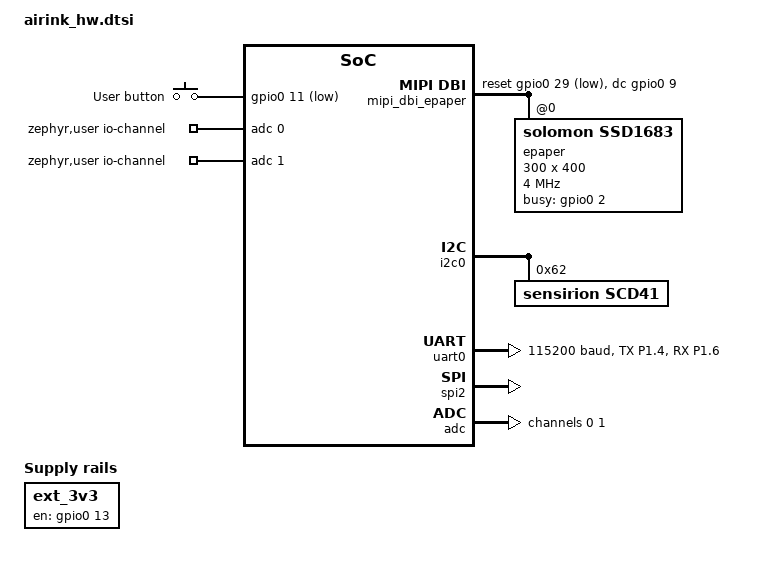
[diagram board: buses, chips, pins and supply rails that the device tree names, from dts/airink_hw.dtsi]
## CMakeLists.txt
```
cmake_minimum_required(VERSION 3.20.0)

# The board's drivers, shared with the Matter build (which appends the same file). Merged after
# prj.conf, so keep it free of anything an app would want to override -- see the file's header.
list(APPEND EXTRA_CONF_FILE ${CMAKE_CURRENT_SOURCE_DIR}/conf/airink_hw.conf)

find_package(Zephyr REQUIRED HINTS $ENV{ZEPHYR_BASE})

project(AirInk)

# Which main() to build. A bench harness REPLACES the firmware's main.cpp; it is not a
# test suite (it needs the real hardware + a PPK2). Select it at configure time:
#   west build -b promicro_nrf52840/nrf52840 -p -- -DAPP_ENTRY=power_test
#
# Read with zephyr_get(), not a plain cache variable: under sysbuild the -D lands in
# the sysbuild cache, which is exposed to the image as target properties rather than
# its CMake cache. A `set(APP_ENTRY ... CACHE ...)` would silently keep the default.
zephyr_get(APP_ENTRY SYSBUILD GLOBAL)
if(NOT APP_ENTRY)
	set(APP_ENTRY main)
endif()
message(STATUS "AirInk entry point: ${APP_ENTRY}")

if(APP_ENTRY STREQUAL "main")
	# The button and the menu state machine belong to the firmware's main() only; a
	# bench harness drives the hardware directly and must not have an input callback
	# registered behind its back.
	target_sources(app PRIVATE
		src/main.cpp
		src/app.cpp
		src/menu.cpp
		src/input/button.cpp
	)
elseif(EXISTS ${CMAKE_CURRENT_SOURCE_DIR}/bench/${APP_ENTRY}.cpp)
	target_sources(app PRIVATE bench/${APP_ENTRY}.cpp)
else()
	message(FATAL_ERROR "APP_ENTRY='${APP_ENTRY}': no such harness bench/${APP_ENTRY}.cpp")
endif()

# So bench/ resolves "sensors/..." and "ui/..." the way sources inside src/ do.
target_include_directories(app PRIVATE src)

target_sources(app PRIVATE
	src/sensors/scd41.cpp
	src/sensors/battery.cpp
	src/ui/display_ui.cpp
	src/ui/ui_platform.cpp
	# UI fonts (1bpp), generated via lv_font_conv: B612 for text, DSEG7 for values.
	src/fonts/b612_48.c
	src/fonts/b612_28.c
	src/fonts/b612_16.c
	src/fonts/b612_14.c
	src/fonts/dseg7_48.c
	src/fonts/dseg7_18.c
	# Vendored SSD16xx driver with a custom solomon,ssd1683 quirk (max 400x400,
	# panel_gates=300) for the GDEY042T81/SSD1683. Paired with CONFIG_SSD16XX=n.
	src/drivers/ssd16xx.c
)
```

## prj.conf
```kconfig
# The standalone firmware. Everything about the board -- drivers, console, UF2 output -- lives in
# conf/airink_hw.conf, which the Matter build pulls in as well. What is left here is what only
# this build gets to decide.

# All views (status bar + boot/sensor/error/low-battery/reset) are built once and kept resident,
# and glyph draw buffers (b612_48 is ~2 KB) are allocated from this pool during a render. 16 KB
# exhausts it -> lv_draw_buf_create_ex returns NULL -> MPU fault in lv_draw_label. The measured
# peak is ~19 KB (ui::log_pool reports it at boot); unlike the Matter build, this one has RAM to
# spare, so leave the headroom generous.
CONFIG_LV_Z_MEM_POOL_SIZE=49152

CONFIG_HEAP_MEM_POOL_SIZE=49152

# The full 400x300 mono render + big-font (b612_48/dseg7_48) rasterisation needs a roomy stack.
# Here the measurement loop IS main (src/main.cpp -> app::run()), so main renders, and an overflow
# is an MPU fault whose symptom is "stuck on the boot screen". In the Matter build the loop has a
# thread of its own and main is trimmed right down.
CONFIG_MAIN_STACK_SIZE=8192
```

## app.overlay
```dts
/*
 * The standalone firmware's devicetree: AirInk's hardware, nothing else. The Matter build
 * describes the same board and includes the same file, adding only its partition map --
 * see matter/boards/promicro_nrf52840_nrf52840.overlay. Wiring changes belong in the .dtsi,
 * so they reach both.
 */

#include "dts/airink_hw.dtsi"
```

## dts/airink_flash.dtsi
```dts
/*
 * The flash map, shared by both builds -- because both run on the same board, on top of the same
 * bootloader, and there is only one truth about where things live.
 *
 *   0x00000000  MBR                    4 KB   part of the nice!nano bootloader, already on the chip
 *   0x00001000  code                 940 KB   the application
 *   0x000EC000  storage               32 KB   NVS (Matter fabrics); untouched by the standalone build
 *   0x000F4000  UF2 bootloader        48 KB   RESERVED -- nice!nano 0.11.0, plus its settings
 *
 * No MCUboot: a plain single image linked at 0x1000, which is exactly where the bootloader starts an
 * app when no SoftDevice is present -- and none is. (Do not be misled by the "s140" in the
 * bootloader's name: it probes for a SoftDevice at boot, finds none, and falls back to 0x1000. The
 * /uf2 board variant, which links at 0x26000 for an SD-based layout, does NOT boot here.)
 *
 * The board's own map is the reason this file exists. Zephyr's promicro_nrf52840 (plain) pulls in
 * nrf52840_partition.dtsi, which describes a board we do not have: an MCUboot pair at 0x0/0xC000 that
 * nothing uses, and -- the dangerous one -- a storage_partition at 0xF8000, i.e. *inside* the
 * bootloader. Nothing writes there today, but the day something persists a setting, NVS would erase
 * its sectors and eat the bootloader. That failure is silent: the device keeps booting (the MBR just
 * skips the now-invalid bootloader), only the USB drive never comes back. It has happened once on
 * this board already.
 *
 * So the stock nodes are deleted and replaced, and the bootloader's 48 KB are left as a hole no
 * partition claims. Bounding the image is the other half of the guard and lives in
 * conf/airink_hw.conf (CONFIG_FLASH_LOAD_SIZE) -- keep the two in step.
 */

/delete-node/ &boot_partition;
/delete-node/ &slot0_partition;
/delete-node/ &slot1_partition;
/delete-node/ &storage_partition;

/ {
	chosen {
		zephyr,code-partition = &code_partition;
	};
};

&flash0 {
	partitions {
		code_partition: partition@1000 {
			compatible = "zephyr,mapped-partition";
			label = "code";
			reg = <0x00001000 0x000eb000>;
		};

		storage_partition: partition@ec000 {
			compatible = "zephyr,mapped-partition";
			label = "storage";
			reg = <0x000ec000 0x00008000>;
		};
	};
};
```

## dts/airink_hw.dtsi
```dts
/*
 * AirInk's hardware, shared by both builds: the standalone firmware (app.overlay) and the
 * Matter build (matter/boards/promicro_nrf52840_nrf52840.overlay). One description, so the two
 * cannot drift apart -- including the flash map, which comes in via airink_flash.dtsi below and so
 * reaches every build that describes this board, without anyone having to remember it.
 *
 *   LED    -> P0.15  (led0 alias, provided by the promicro_nrf52840 board)
 *   Button -> P0.11  (active-low, internal pull-up)
 *   SCD41  -> I2C0, SCL=P0.22, SDA=P0.24, addr 0x62 (single-shot mode)
 *   3V3    -> external LDO / load-switch enabled by P0.13 (kept on at boot)
 *   E-Paper-> GDEY042T81 4.2" (SSD1683, solomon,ssd1683 quirk; landscape 400x300, rotation 270)
 *            SPI2: SCK=P1.11, MOSI=P1.13, CS=P0.10
 *            DC=P0.09, RST=P0.29, BUSY=P0.02 (active-high)
 *
 *   Console-> uart0, remapped to TX=P1.04 / RX=P1.06
 *
 * Two pin collisions with the board's defaults, both resolved by remapping below: i2c0's
 * default SCL is P0.11, which is the button; and uart0's default TX/RX are P0.09/P0.10, which
 * are the display's DC/CS.
 */

#include <zephyr/dt-bindings/gpio/gpio.h>
#include <zephyr/dt-bindings/input/input-event-codes.h>
#include <zephyr/dt-bindings/pinctrl/nrf-pinctrl.h>
#include <zephyr/dt-bindings/adc/adc.h>
#include <zephyr/dt-bindings/adc/nrf-saadc.h>
#include <zephyr/dt-bindings/regulator/nrf5x.h>

/* Where things live in flash -- and, above all, where the bootloader lives so nothing lands on it. */
#include "airink_flash.dtsi"

/*
 * Enable the REG1 DC/DC buck (default is LDO). ~2x more efficient than the LDO at
 * the mA-level active currents, so it mainly trims the measurement/refresh bursts.
 * Requires the on-module DCC inductor to be populated -- validated on the PPK2.
 */
&reg1 {
	regulator-initial-mode = <NRF5X_REG_MODE_DCDC>;
};

/ {
	keys: buttons {
		compatible = "gpio-keys";

		button0: button_0 {
			/* P0.11, pressed = LOW, enable internal pull-up */
			gpios = <&gpio0 11 (GPIO_ACTIVE_LOW | GPIO_PULL_UP)>;
			label = "User button";
			zephyr,code = <INPUT_KEY_0>;
		};
	};

	/*
	 * Turn the one button's raw press/release into a tap/hold pair. The driver emits
	 * ENTER on a short press (on release) and MENU the moment the hold threshold passes
	 * (while still held) -- so button.cpp only has to map two codes, not time the press.
	 */
	longpress: longpress {
		compatible = "zephyr,input-longpress";
		input = <&keys>;
		input-codes = <INPUT_KEY_0>;
		short-codes = <INPUT_KEY_ENTER>;
		long-codes = <INPUT_KEY_MENU>;
		long-delay-ms = <700>;
	};

	/* Nothing we build reads sw0 -- button.cpp goes through the input subsystem. It is here
	 * because it is the conventional name for "the button", and because NCS's DK library (which
	 * the Matter build deliberately does not enable; see matter/prj.conf) looks for it. */
	aliases {
		sw0 = &button0;
	};

	/*
	 * External 3V3 LDO / load-switch, gated by P0.13 (active-high).
	 * regulator-boot-on makes Zephyr enable it automatically at boot,
	 * before the SCD40 driver initialises, so the sensor rail is powered.
	 */
	ext_3v3: ext-3v3 {
		compatible = "regulator-fixed";
		regulator-name = "ext-3v3";
		enable-gpios = <&gpio0 13 GPIO_ACTIVE_HIGH>;
		regulator-boot-on;
		regulator-always-on;
		startup-delay-us = <10000>;
	};
};

/* Remap i2c0 pins to the SCD40 wiring: SCL=P0.22, SDA=P0.24 */
&pinctrl {
	i2c0_default: i2c0_default {
		group1 {
			psels = <NRF_PSEL(TWIM_SCL, 0, 22)>,
				<NRF_PSEL(TWIM_SDA, 0, 24)>;
		};
	};

	i2c0_sleep: i2c0_sleep {
		group1 {
			psels = <NRF_PSEL(TWIM_SCL, 0, 22)>,
				<NRF_PSEL(TWIM_SDA, 0, 24)>;
			low-power-enable;
		};
	};
};

/*
 * The promicro board DTS downgrades i2c0 and spi2 to the legacy, DMA-less TWI/SPI drivers. Put
 * them back on the SoC's own defaults. Two reasons, and the second one is the surprising one:
 *
 *  - DMA. The 15 KB framebuffer flush and every sensor transaction went through the CPU byte by
 *    byte.
 *  - Power. TWI and SPI are the only nRF serial drivers that do NOT participate in device runtime
 *    PM -- they never call pm_device_runtime_get(), so with CONFIG_PM_DEVICE_RUNTIME they touch a
 *    suspended peripheral and assert (nrfx_twi.c:312). TWIM and SPIM do the get/put, which is what
 *    lets the console UARTE power itself down between log lines: measured, the console's idle cost
 *    fell from ~650 uA to ~7 uA. See docs/power-analysis.md.
 */
&i2c0 {
	status = "okay";
	compatible = "nordic,nrf-twim";
	zephyr,pm-device-runtime-auto;

	scd41: scd41@62 {
		compatible = "sensirion,scd41";
		reg = <0x62>;
		/* 0 = normal (5 s), 1 = low-power (30 s), 2 = single-shot.
		 * Single-shot is SCD41-only and required by this binding. */
		mode = <2>;
	};
};

/*
 * Debug console on uart0, remapped. The board's default uart0 pins are
 * P0.09/P0.10 — which we use for the display DC/CS — so move uart0 to free,
 * broken-out pins: TX=P1.04, RX=P1.06. The console runs over this UART instead
 * of USB CDC ACM (power saving; see prj.conf). Wire a USB-serial adapter's RX to
 * P1.04 (+ GND) to read printk; the adapter's TX -> P1.06 for future input.
 */
&pinctrl {
	uart0_default_alt: uart0_default_alt {
		group1 {
			psels = <NRF_PSEL(UART_TX, 1, 4)>,
				<NRF_PSEL(UART_RX, 1, 6)>;
		};
	};

	uart0_sleep_alt: uart0_sleep_alt {
		group1 {
			psels = <NRF_PSEL(UART_TX, 1, 4)>,
				<NRF_PSEL(UART_RX, 1, 6)>;
			low-power-enable;
		};
	};
};

&uart0 {
	status = "okay";
	current-speed = <115200>;
	pinctrl-0 = <&uart0_default_alt>;
	pinctrl-1 = <&uart0_sleep_alt>;
	pinctrl-names = "default", "sleep";

	/* An enabled UARTE holds the HFCLK on -- ~650 uA, whether or not anything is listening. With
	 * runtime PM the driver enables it for the duration of a line and suspends it again, so the
	 * console costs the bytes it actually sends and nothing else. This is what replaced the manual
	 * suspend/resume the loop used to do around its sleep. */
	zephyr,pm-device-runtime-auto;
};

/* Remap SPI2 to the e-paper wiring: SCK=P1.11, MOSI=P1.13 (write-only, no MISO) */
&spi2_default {
	group1 {
		psels = <NRF_PSEL(SPIM_SCK, 1, 11)>,
			<NRF_PSEL(SPIM_MOSI, 1, 13)>;
	};
};

&spi2_sleep {
	group1 {
		psels = <NRF_PSEL(SPIM_SCK, 1, 11)>,
			<NRF_PSEL(SPIM_MOSI, 1, 13)>;
		low-power-enable;
	};
};

&spi2 {
	status = "okay";
	compatible = "nordic,nrf-spim"; /* not the board's legacy SPI -- see &i2c0 above */
	zephyr,pm-device-runtime-auto;
	cs-gpios = <&gpio0 10 GPIO_ACTIVE_LOW>;
};

/ {
	chosen {
		zephyr,display = &epaper;
		zephyr,console = &uart0;   /* override the board's USB CDC ACM console */
	};

	mipi_dbi_epaper {
		compatible = "zephyr,mipi-dbi-spi";
		spi-dev = <&spi2>;
		dc-gpios = <&gpio0 9 GPIO_ACTIVE_HIGH>;
		reset-gpios = <&gpio0 29 GPIO_ACTIVE_LOW>;
		write-only;
		#address-cells = <1>;
		#size-cells = <0>;

		/*
		 * GoodDisplay GDEY042T81 (4.2", SSD1683) via the vendored ssd16xx
		 * driver (gen2 command set), dedicated solomon,ssd1683 quirk.
		 *
		 * Geometry: width = gate axis (300), height = source axis (400, /8).
		 * LANDSCAPE via rotation=270 (HTILED): the source axis (400) becomes
		 * horizontal (byte-packed, /8 ok) and the 300 gates become vertical
		 * (no /8 needed) -> full 400x300 canvas, no clip. The vendored driver
		 * patches get_capabilities to swap x/y for 90/270. BUSY active-HIGH.
		 * full{}/partial{} empty -> OTP waveforms. partial{} present enables
		 * fast partial refresh (only changed pixels, no black flash).
		 *
		 * (For PORTRAIT instead: set rotation=0 and width=304; then the
		 * quirk's panel_gates=300 clip kicks in to reclaim the 4 px.)
		 */
		epaper: ssd1683@0 {
			compatible = "solomon,ssd1683";
			reg = <0>;
			mipi-max-frequency = <4000000>;
			width = <300>;
			height = <400>;
			busy-gpios = <&gpio0 2 GPIO_ACTIVE_HIGH>;
			tssv = <0x80>;
			rotation = <270>;

			full {
			};

			partial {
			};
		};
	};
};

/*
 * Battery sensing on two channels:
 *   ch0 = external divider on P0.31 (AIN7): 300k to BAT+, 100k to GND ->
 *         V_pin = V_bat/4, so software scales by 4. This is the gauge.
 *   ch1 = internal VDDH/5 path (no external parts, no divider drain); scale by 5.
 *         Read only to detect USB (VDDH sits above BAT+).
 *
 * 10 us acquisition is enough: the divider is ~75k of source impedance, inside Nordic's
 * 100k limit. Raising it to 40 us was measured (bench/batt_seed) and changed the
 * per-sample scatter not at all -- the scatter is noise, not settling.
 */
&adc {
	#address-cells = <1>;
	#size-cells = <0>;
	zephyr,pm-device-runtime-auto;

	channel@0 {
		reg = <0>;
		zephyr,gain = "ADC_GAIN_1_4";
		zephyr,reference = "ADC_REF_INTERNAL";
		zephyr,acquisition-time = <ADC_ACQ_TIME(ADC_ACQ_TIME_MICROSECONDS, 10)>;
		zephyr,input-positive = <NRF_SAADC_AIN7>;
		zephyr,resolution = <12>;
		zephyr,oversampling = <4>;
	};

	channel@1 {
		reg = <1>;
		zephyr,gain = "ADC_GAIN_1_6";
		zephyr,reference = "ADC_REF_INTERNAL";
		zephyr,acquisition-time = <ADC_ACQ_TIME(ADC_ACQ_TIME_MICROSECONDS, 10)>;
		zephyr,input-positive = <NRF_SAADC_VDDHDIV5>;
		zephyr,resolution = <12>;
		zephyr,oversampling = <4>;
	};
};

/ {
	zephyr,user {
		/* [0] = external divider (P0.31, x4), [1] = internal VDDH/5 (x5) */
		io-channels = <&adc 0>, <&adc 1>;
	};
};
```

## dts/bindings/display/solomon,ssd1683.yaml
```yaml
# Copyright (c) 2026 AirInk
# SPDX-License-Identifier: Apache-2.0

description: |
  Solomon Systech SSD1683 400x300 EPD display controller.

  Functionally a Gen2 SSD16xx controller (same command set as SSD1680/SSD1681).
  Not in mainline Zephyr; this project ships a vendored ssd16xx driver
  (src/drivers/) with a matching quirk. Used by the GoodDisplay GDEY042T81.

compatible: "solomon,ssd1683"

include: solomon,ssd16xx-common.yaml
```

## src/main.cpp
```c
#include "app.hpp"

/** The main app loop */
int main(void)
{
	app::run();
}
```

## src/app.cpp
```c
#include "app.hpp"

#include <zephyr/kernel.h>
#include <zephyr/device.h>
#include <zephyr/devicetree.h>
#include <zephyr/sys/reboot.h>

#include <hal/nrf_power.h>

#include "input/button.hpp"
#include "menu.hpp"
#include "net.hpp"
#include "prefs.hpp"
#include "sensors/battery.hpp"
#include "sensors/scd41.hpp"
#include "ui/display_ui.hpp"
#include "version.hpp"

static constexpr int TICK_MS = 30000;				// How often a measurement cycle runs
static constexpr uint32_t CO2_EVERY_TICKS = 10;		// On battery, every tenth cycle is a full CO2 read
static constexpr uint32_t CO2_EVERY_TICKS_USB = 2;	// On USB power, every other one -- the cable pays
static uint32_t tick_count;							// cycles since boot, or since the last recalibration

/** Read the SCD41 and put the numbers on screen. Every tenth call (every other on USB power) is
 * the full CO2 single-shot, the rest are ~1000x cheaper T+RH reads (the sensor module carries the
 * CO2 value across them). A reading also selects the sensor view, which is how the splash and a
 * stale error go away. On a read error the cadence does not advance, so the next call retries the
 * same kind of read. */
static void measure(bool usb)
{
	const uint32_t n = usb ? CO2_EVERY_TICKS_USB : CO2_EVERY_TICKS;
	const bool full_co2 = (tick_count % n) == 0;

	Scd41Reading r{};
	if ((full_co2 ? scd41::sample(&r) : scd41::sample_rht(&r)) != 0)
	{
		printk("SCD41: %s read failed\n", full_co2 ? "CO2" : "RHT");
		ui::set_error("SENSOR ERROR", "SCD41 read failed");
		return;
	}

	// %d.%02d with abs() on the fraction drops the sign for -1.00 < T < 0.00 -- integer division
	// truncates toward zero, so -0.5 C prints as "0.5". The sign goes in front of the whole thing.
	const int32_t t_abs = (r.temp_x100 < 0) ? -r.temp_x100 : r.temp_x100;
	printk("%s CO2 %u ppm  T %s%d.%02d C  RH %d.%02d %%\n", full_co2 ? "[CO2]" : "[RHT]", r.co2_ppm,
		   (r.temp_x100 < 0) ? "-" : "", t_abs / 100, t_abs % 100, r.hum_x100 / 100, r.hum_x100 % 100);

	ui::show_sensor();
	ui::set_sensor(r.co2_ppm, r.temp_x100, r.hum_x100);

	// The network hears about it when there is something to say -- which is net's judgement, not
	// ours: it publishes exactly when the displayed reading changed (see net::publish_reading).
	net::publish_reading(r);

	tick_count++;
}

/* Given from the POWER interrupt when the USB cable moves (see battery::watch_supply). */
static K_SEM_DEFINE(supply_changed, 0, 1);

/** Sleep until the button, the USB cable, or the deadline. The cable wakes us so the charging
 * bolt tracks it immediately instead of lagging a 30 s cycle; an early wake needs no special case
 * because every pass re-reads the battery anyway.
 *
 * @param deadline_ms absolute k_uptime_get() value; already past = just take what is queued
 * @return the gesture, or Event::None -- which is also what a cable wake looks like
 */
static button::Event wait(int64_t deadline_ms)
{
	const int64_t now = k_uptime_get();
	if (deadline_ms > now)
	{
		struct k_poll_event ev[2];
		k_poll_event_init(&ev[0], K_POLL_TYPE_MSGQ_DATA_AVAILABLE, K_POLL_MODE_NOTIFY_ONLY, button::queue());
		k_poll_event_init(&ev[1], K_POLL_TYPE_SEM_AVAILABLE, K_POLL_MODE_NOTIFY_ONLY, &supply_changed);
		k_poll(ev, ARRAY_SIZE(ev), K_MSEC(deadline_ms - now));
	}

	// The cable wake carries no information beyond "look again", and looking again is what the
	// caller is about to do. Consume it so it cannot wake us a second time.
	k_sem_take(&supply_changed, K_NO_WAIT);

	return button::wait_until(0); // a gesture if k_poll found one; None otherwise
}

/** The main app loop.
 * @param menu_active true when run() opened the boot onboarding screen (menu::enter_matter()) --
 *                    the loop then starts inside the menu, exactly as if the user had opened it */
static void app_loop(bool menu_active)
{
	int64_t next_measure = k_uptime_get(); // the first one is due at once
	bool was_low = false; // so the low-battery state is announced once, not every 30 s
	button::Event e = button::Event::None;

	while (true)
	{
		const int64_t now = k_uptime_get();

		const battery::State bat = battery::read();
		ui::set_battery(bat.pct, bat.charging);
		net::publish_battery(bat);

		ui::set_signal_bars(net::poll_signal());

		// Adopt a unit the controller set. The loop is the bridge between net and prefs, so the
		// two never call each other; prefs dedups, logs, and never echoes back (adopt).
		ui::TempUnit u;
		if (net::unit_from_network(&u))
		{
			prefs::adopt(prefs::Unit, (int32_t)u);
		}

		if (bat.low)
		{
			if (menu_active)
			{
				menu::abort(); // a calibration would leave the SCD41 in periodic mode
				menu_active = false;
			}
			if (!was_low)
			{
				printk("[LOW] batt %u%%%s  measurement suspended\n", bat.pct,
					   bat.charging ? " CHG" : "");
			}
			ui::set_low_battery();
			next_measure = now + TICK_MS;
		}
		else if (menu_active)
		{
			const menu::Status status = menu::proceed(e);
			if (status != menu::Status::Running)
			{
				if (status == menu::Status::Recalibrated)
				{
					// Restart the cadence: the recalibration disowned the sensor's held CO2 value
					// (scd41 cleared it), so the very next read must be the full one.
					tick_count = 0;
				}
				else if (status == menu::Status::FactoryReset && net::can_factory_reset())
				{
					// Leaves the screen as it is: the reset reboots us, and a device that is
					// about to lose its network should not spend its last second drawing.
					printk("[UI] factory reset\n");
					net::factory_reset();
				}
				else if (status == menu::Status::FirmwareUpdate)
				{
					/* Painted BEFORE the reset: e-paper holds it unpowered, so this stands for as
					 * long as the UF2 drive is open -- a bootloader screen for free. It names the
					 * way out because from here there is no other: the bootloader is not our code,
					 * it waits for a file forever, and unplugging does not send it home. */
					ui::set_error("BOOTLOADER", "COPY UF2, OR PRESS RESET");
					ui::refresh();
					printk("[UI] rebooting into the UF2 bootloader\n");
					NRF_POWER->GPREGRET = 0x57; // DFU_MAGIC_UF2_RESET; survives the soft reset
					sys_reboot(SYS_REBOOT_COLD);
				}
				else
				{
					ui::show_sensor();
				}
				menu_active = false;
				next_measure = now;
			}
		}
		else if (e == button::Event::Long)
		{
			menu_active = true;
			menu::enter();
		}
		else if (now >= next_measure)
		{
			measure(bat.charging);
			next_measure = now + TICK_MS;
		}

		was_low = bat.low;

		// The one place the panel is committed. It paints only when a *displayed* value changed --
		// set_sensor() and set_battery() dedup on what the screen actually shows -- so most passes
		// end here without touching the e-paper. That is deliberate and it is load-bearing: a
		// refresh costs ~3 mAs, and a still room gets one per five minutes rather than ten.
		ui::refresh();

		// Whichever mode we are in has exactly one deadline. A deadline already in the past
		// makes wait() return at once, which is how leaving the menu gets its reading
		// without a second code path; the iteration that follows always pushes next_measure,
		// so this cannot spin.
		const int64_t wake_at = menu_active ? menu::deadline_ms() : next_measure;

		e = wait(wake_at);

		if (e != button::Event::None)
		{
			printk("[BTN] %s\n", (e == button::Event::Long) ? "hold" : "tap");
		}
	}
}

void app::run(const char *build_name)
{
	// What the panel needs. What the MENU offers is decided elsewhere -- it asks net::has_radio()
	// and net::can_factory_reset() -- because a row exists when there is something behind it.
	const ui::Config ui_cfg = {
		.build = build_name,
		.pair_qr = net::pair_qr(),
		.pair_manual = net::pair_manual(),
	};
	// Before the panel, because ui::init() builds the sensor view and the menu with a unit already in
	// them. A store that will not come up is survivable: prefs answers Celsius and says so in the log.
	prefs::init();

	const bool display_ok = (ui::init(ui_cfg) == 0);

	printk("AirInk v%s %s (%s %s) started (display %s)\n",
		   AIRINK_VERSION, build_name, __DATE__, __TIME__, display_ok ? "ok" : "FAILED");

	if (scd41::init() < 0)
	{
		printk("SCD41 not ready\n");
		ui::set_error("SENSOR ERROR", "SCD41 not found");
		ui::refresh();
		k_sleep(K_FOREVER); // leave the error on screen
	}

	/* Everything the user ever chose, put where it acts (panel, sensor, network) -- the first moment
	 * it can be, since neither existed until now; the splash is still up, so nobody sees the wrong
	 * unit. Pushing the unit OUT before the loop polls the other way is what makes prefs the
	 * authority (see net::Hooks::publish_unit). Survivable if the sensor refuses: it measures on
	 * with the factory's idea of the room. */
	prefs::apply_all();

	if (battery::init() < 0)
	{
		printk("Battery ADC not ready (continuing without it)\n");
	}
	else if (battery::watch_supply(&supply_changed) < 0)
	{
		// Survivable: the bolt then appears and clears on the next cycle, up to 30 s late,
		// which is how it behaved before this existed.
		printk("Battery: no VBUS events; the charging bolt will lag by a cycle\n");
	}
	if (button::init() < 0)
	{
		printk("Button not ready (continuing without it)\n");
	}
	ui::log_pool("boot splash"); // every view is built; this is the resident cost

	/* A device that has never joined anything boots straight into the menu's Matter screen: the
	 * QR is the one thing a factory-new device is for, and the menu machinery already holds a
	 * screen without measuring. It leaves like any menu -- scanned or dismissed, on to the
	 * readings. (The radio is already listening: CONFIG_CHIP_ENABLE_PAIRING_AUTOSTART.) */
	const bool show_code = net::has_radio() && !net::commissioned();
	if (show_code)
	{
		printk("[MTR] not commissioned; the panel shows the onboarding code\n");
		menu::enter_matter();
	}
	app_loop(show_code);
}
```

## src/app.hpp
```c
#pragma once

#include <stdint.h>

/** @file
 * The device: display, sensor, battery, button, menu, and the loop tying them together.
 *
 * A module, not a main(): the standalone firmware runs it as its only thread, the Matter build on a
 * thread of its own next to CHIP/OpenThread (apps/matter/src/app_task.cpp). Everything the loop says
 * to the world beyond the panel goes through net (net.hpp); a build that installs no hooks there is
 * the standalone one.
 *
 * The loop owns the panel: LVGL is not thread-safe, so nothing outside run()'s thread may call ui::.
 * Other threads leave values where the loop picks them up (see net::set_thread_connected()).
 */
namespace app
{
	/** Bring up display, sensor, battery and button, then loop forever. A missing display or button
	 * is survivable; a missing SCD41 parks the error view and blocks.
	 * @param build_name names this build on the splash and in the boot log -- the two firmwares
	 *                   look alike everywhere else. Not copied. */
	void run(const char *build_name = "Standalone");
}
```

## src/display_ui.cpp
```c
#include "display_ui.hpp"
#include "ui_platform.hpp"

#include <stdio.h>
#include <stdlib.h>
#include <lvgl.h>

/* UI fonts (generated into src/fonts/, bpp=1). C linkage.
 * B612 for all text; DSEG7 (7-segment, digits only) for the big sensor values. */
extern "C" {
extern const lv_font_t b612_48, b612_28, b612_16, b612_14;
extern const lv_font_t dseg7_48;
}

namespace {

/* One full-screen container per screen; only one is un-hidden at a time. */
lv_obj_t *boot_scr;
lv_obj_t *sensor_scr;
lv_obj_t *error_scr;

/* Value labels updated at runtime. */
lv_obj_t *co2_value;
lv_obj_t *hum_value;
lv_obj_t *temp_value;
lv_obj_t *err_title_lbl;
lv_obj_t *err_detail_lbl;

/* Landscape canvas (rotation=270). The driver's get_capabilities swaps x/y,
 * so LVGL renders a full 400x300 (source axis horizontal, gate axis vertical).
 * No clip needed in this orientation. */
#define SCR_W 400
#define SCR_H 300

lv_obj_t *make_container(lv_obj_t *parent)
{
	lv_obj_t *c = lv_obj_create(parent);
	lv_obj_remove_style_all(c);
	lv_obj_set_size(c, SCR_W, SCR_H);
	lv_obj_set_pos(c, 0, 0);
	lv_obj_set_style_bg_color(c, lv_color_white(), 0);
	lv_obj_set_style_bg_opa(c, LV_OPA_COVER, 0);
	lv_obj_clear_flag(c, LV_OBJ_FLAG_SCROLLABLE);
	return c;
}

lv_obj_t *make_label(lv_obj_t *parent, const lv_font_t *font, lv_coord_t w)
{
	lv_obj_t *l = lv_label_create(parent);
	lv_obj_set_style_text_font(l, font, 0);
	lv_obj_set_style_text_color(l, lv_color_black(), 0);
	lv_obj_set_style_text_align(l, LV_TEXT_ALIGN_CENTER, 0);
	if (w) {
		lv_obj_set_width(l, w);
	}
	return l;
}

lv_obj_t *make_divider(lv_obj_t *parent, lv_coord_t w, lv_coord_t h)
{
	lv_obj_t *d = lv_obj_create(parent);
	lv_obj_remove_style_all(d);
	lv_obj_set_size(d, w, h);
	lv_obj_set_style_bg_color(d, lv_color_black(), 0);
	lv_obj_set_style_bg_opa(d, LV_OPA_COVER, 0);
	return d;
}

/*
 * Push the current LVGL frame to the panel. `full` selects a full refresh
 * (clean, but a black flash) vs a partial refresh (fast, only changed pixels,
 * no flash). The ssd16xx driver does a partial refresh whenever blanking is
 * off and a partial{} profile exists; wrapping the flush in blanking on/off
 * forces a full refresh instead.
 */
void flush(bool full)
{
	lv_display_t *disp = lv_display_get_default();

	if (full) {
		plat::blanking_on();             /* select the full-refresh profile */
		lv_refr_now(disp);               /* write RAM (no refresh yet) */
		plat::blanking_off();            /* trigger the full refresh */
	} else {
		lv_refr_now(disp);               /* partial refresh */
	}
}

void show_only(lv_obj_t *which, bool full)
{
	lv_obj_add_flag(boot_scr, LV_OBJ_FLAG_HIDDEN);
	lv_obj_add_flag(sensor_scr, LV_OBJ_FLAG_HIDDEN);
	lv_obj_add_flag(error_scr, LV_OBJ_FLAG_HIDDEN);
	lv_obj_clear_flag(which, LV_OBJ_FLAG_HIDDEN);
	flush(full);
}

/* Refresh bookkeeping. */
enum ScreenId { SCREEN_NONE, SCREEN_BOOT, SCREEN_SENSOR, SCREEN_ERROR };
ScreenId cur_screen = SCREEN_NONE;

/* Force a full refresh every N partial updates to clear e-paper ghosting. */
constexpr int FULL_REFRESH_EVERY = 12;
int partials_since_full;

/* Last shown reading, to skip refreshes when nothing changed. */
bool have_last_reading;
uint16_t last_co2;
int32_t last_temp_x100;
uint16_t last_hum_x100;

/* Sensor-screen fonts (big value / small unit / name). Default Montserrat;
 * the host font-preview overrides these via ui::set_metric_fonts(). */
const lv_font_t *f_big  = &dseg7_48;   /* big values: 7-segment (digits only) */
const lv_font_t *f_unit = &b612_28;
const lv_font_t *f_name = &b612_16;

} // namespace

void ui::set_metric_fonts(const _lv_font_t *big, const _lv_font_t *unit,
			  const _lv_font_t *name)
{
	f_big = big;
	f_unit = unit;
	f_name = name;
}

int ui::init()
{
	if (!plat::display_ready()) {
		plat::log("Display not ready\n");
		return -1;
	}

	lv_obj_t *scr = lv_scr_act();
	lv_obj_set_style_bg_color(scr, lv_color_white(), 0);
	lv_obj_set_style_bg_opa(scr, LV_OPA_COVER, 0);

	/* ---- boot screen ---- */
	boot_scr = make_container(scr);
	lv_obj_t *word = make_label(boot_scr, &b612_48, SCR_W);
	lv_label_set_text(word, "AirInk");
	lv_obj_align(word, LV_ALIGN_CENTER, 0, -30);
	lv_obj_t *rule = make_divider(boot_scr, 180, 2);
	lv_obj_align(rule, LV_ALIGN_CENTER, 0, 6);
	lv_obj_t *sub = make_label(boot_scr, &b612_16, SCR_W);
	lv_label_set_text(sub, "Air Quality Monitor");
	lv_obj_align(sub, LV_ALIGN_CENTER, 0, 34);
	lv_obj_t *foot = make_label(boot_scr, &b612_14, SCR_W);
	lv_label_set_text(foot, "nRF52840 - Zephyr");
	lv_obj_align(foot, LV_ALIGN_BOTTOM_MID, 0, -8);

	/*
	 * ---- sensor screen: CO2 on top, Humidity | Temperature below ----
	 *
	 * Every metric is a flex-column cell: big value on top, small label
	 * underneath, both centred vertically and horizontally in the cell. So the
	 * value dominates and the caption sits below it, centred in its region.
	 */
	sensor_scr = make_container(scr);

	auto make_metric = [&](lv_align_t align, int y, int w, int h,
			       const char *unit, const char *name) -> lv_obj_t * {
		lv_obj_t *cell = lv_obj_create(sensor_scr);
		lv_obj_remove_style_all(cell);
		lv_obj_set_size(cell, w, h);
		lv_obj_align(cell, align, 0, y);
		lv_obj_clear_flag(cell, LV_OBJ_FLAG_SCROLLABLE);
		/* No layout on the cell: value row is centred, name pinned to bottom. */

		/* Value row: big number + small unit, unit bottom-aligned to the number
		 * (FLEX_ALIGN_END on the cross axis). */
		lv_obj_t *row = lv_obj_create(cell);
		lv_obj_remove_style_all(row);
		lv_obj_set_size(row, LV_SIZE_CONTENT, LV_SIZE_CONTENT);
		lv_obj_clear_flag(row, LV_OBJ_FLAG_SCROLLABLE);
		lv_obj_set_flex_flow(row, LV_FLEX_FLOW_ROW);
		lv_obj_set_flex_align(row, LV_FLEX_ALIGN_CENTER,
				      LV_FLEX_ALIGN_END, LV_FLEX_ALIGN_END);
		lv_obj_set_style_pad_column(row, 5, 0);   /* gap number<->unit */

		lv_obj_t *val = make_label(row, f_big, 0);
		lv_obj_t *u   = make_label(row, f_unit, 0);
		lv_label_set_text(u, unit);
		/* FLEX_ALIGN_END aligns box bottoms (descent lines), not text baselines.
		 * The big font has a larger descent, so nudge the small unit up by the
		 * descent difference to sit the two baselines on the same line. */
		lv_obj_set_style_translate_y(u, (lv_coord_t)(f_unit->base_line -
						 f_big->base_line), 0);

		/* Value vertically centred in the cell; name pinned to the bottom edge. */
		lv_obj_align(row, LV_ALIGN_CENTER, 0, 0);

		lv_obj_t *nm = make_label(cell, f_name, w);
		lv_label_set_text(nm, name);
		lv_obj_align(nm, LV_ALIGN_BOTTOM_MID, 0, -6);
		return val;
	};

	constexpr int SPLIT_Y = 150;

	/* CO2: full-width cell across the top half. Big number + "ppm", "CO2" beneath. */
	co2_value = make_metric(LV_ALIGN_TOP_MID, 0, SCR_W, SPLIT_Y, "ppm", "CO2");
	lv_label_set_text(co2_value, "--");

	/* Divider between the CO2 header and the bottom half. */
	lv_obj_t *hdiv = make_divider(sensor_scr, SCR_W - 4, 2);
	lv_obj_align(hdiv, LV_ALIGN_TOP_MID, 0, SPLIT_Y);
	lv_obj_t *vdiv = make_divider(sensor_scr, 2, SCR_H - (SPLIT_Y + 4));
	lv_obj_align(vdiv, LV_ALIGN_BOTTOM_MID, 0, -2);

	/* Bottom half: Humidity (left) | Temperature (right). */
	const int cell_top = SPLIT_Y + 2;
	const int cell_h = SCR_H - cell_top;
	const int cell_w = SCR_W / 2;

	hum_value = make_metric(LV_ALIGN_TOP_LEFT, cell_top, cell_w, cell_h, "%", "Humidity");
	lv_label_set_text(hum_value, "--");

	temp_value = make_metric(LV_ALIGN_TOP_RIGHT, cell_top, cell_w, cell_h, "\xC2\xB0""C", "Temperature");
	lv_label_set_text(temp_value, "--");

	/* ---- error screen ---- */
	error_scr = make_container(scr);
	err_title_lbl = make_label(error_scr, &b612_28, SCR_W);
	lv_label_set_text(err_title_lbl, "SENSOR ERROR");
	lv_obj_align(err_title_lbl, LV_ALIGN_CENTER, 0, -20);
	err_detail_lbl = make_label(error_scr, &b612_16, SCR_W);
	lv_label_set_text(err_detail_lbl, "");
	lv_obj_align(err_detail_lbl, LV_ALIGN_CENTER, 0, 20);

	show_only(boot_scr, true); /* boot splash: full refresh */
	cur_screen = SCREEN_BOOT;
	return 0;
}

void ui::show_boot()
{
	show_only(boot_scr, true);
	cur_screen = SCREEN_BOOT;
}

void ui::show_reading(uint16_t co2_ppm, int32_t temp_c_x100, uint16_t hum_x100)
{
	/* Nothing changed and already on the sensor screen -> don't refresh. */
	if (cur_screen == SCREEN_SENSOR && have_last_reading &&
	    co2_ppm == last_co2 && temp_c_x100 == last_temp_x100 &&
	    hum_x100 == last_hum_x100) {
		return;
	}

	char buf[24];

	snprintf(buf, sizeof(buf), "%u", co2_ppm);
	lv_label_set_text(co2_value, buf);

	snprintf(buf, sizeof(buf), "%u", (unsigned)(hum_x100 / 100));
	lv_label_set_text(hum_value, buf);

	const int whole = temp_c_x100 / 100;
	const int frac = abs(temp_c_x100 % 100) / 10;
	snprintf(buf, sizeof(buf), "%d.%d", whole, frac);
	lv_label_set_text(temp_value, buf);

	/* Full refresh on the first sensor frame (screen change) and periodically
	 * to clear ghosting; partial (fast, no flash) for ordinary value updates. */
	const bool screen_changed = (cur_screen != SCREEN_SENSOR);
	const bool full = screen_changed || partials_since_full >= FULL_REFRESH_EVERY;

	show_only(sensor_scr, full);

	cur_screen = SCREEN_SENSOR;
	partials_since_full = full ? 0 : partials_since_full + 1;
	last_co2 = co2_ppm;
	last_temp_x100 = temp_c_x100;
	last_hum_x100 = hum_x100;
	have_last_reading = true;
}

void ui::show_error(const char *title, const char *detail)
{
	if (title) {
		lv_label_set_text(err_title_lbl, title);
	}
	lv_label_set_text(err_detail_lbl, detail ? detail : "");
	show_only(error_scr, true); /* error: full refresh */
	cur_screen = SCREEN_ERROR;
	have_last_reading = false;
}
```

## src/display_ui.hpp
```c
#pragma once
#include <stdint.h>

/*
 * LVGL UI for the AirInk 4.2" 400x300 e-paper. Three screens, one visible at a
 * time; each show_*() updates its labels and pushes a full refresh to the panel.
 */
struct _lv_font_t;

namespace ui {

/* Build all screens and show the boot splash. Returns 0 on success. */
int init();

/* Override the sensor-screen fonts (big value / small unit / name). Used by the
 * host font-preview to A/B fonts; the firmware keeps the Montserrat defaults. */
void set_metric_fonts(const _lv_font_t *big, const _lv_font_t *unit,
		      const _lv_font_t *name);

void show_boot();
void show_reading(uint16_t co2_ppm, int32_t temp_c_x100, uint16_t hum_x100);
void show_error(const char *title, const char *detail);

} // namespace ui
```

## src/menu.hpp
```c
#pragma once
#include <stdint.h>

#include "input/button.hpp"

/** @file
 * The settings menu. Exists only while the user is inside it: knows nothing about readings or the
 * cadence, never refreshes the panel, only stages its own views. The loop (app.cpp) owns the rest.
 *
 * WHAT the menu contains is a table at the top of menu.cpp -- a row says what KIND it is (sub-menu,
 * screen, toggle, number, way out) and the machinery knows how each kind behaves. Adding a setting
 * is adding a row.
 *
 * The shape: tap = next row, hold = activate, 30 s idle = out. A Toggle flips in place; a Number
 * opens the one editor (tap steps and wraps, hold saves, idle discards); a Screen runs its own
 * little flow and ends up back in the list -- except a completed calibration, a confirmed factory
 * reset, and the Matter QR (scanned or dismissed), which leave the menu via Status below.
 */
namespace menu
{
	/** What proceed() wants the loop to do next. */
	enum class Status : uint8_t
	{
		Running,	   // still inside
		Exited,		   // show the readings again
		Recalibrated,  // as Exited, but the retained CO2 value predates the correction
		FactoryReset,  // confirmed; the loop hands it to net::factory_reset()
		FirmwareUpdate // confirmed; the loop reboots into the UF2 bootloader
	};

	/** Open the menu on its first entry. */
	void enter();

	/** Open the menu directly on the Matter screen -- the boot onboarding of a device that has
	 * never been commissioned. From there it behaves like any menu: the loop drives it with
	 * proceed(), and it exits (scanned, or dismissed) to the readings. */
	void enter_matter();

	/** Advance the menu: one gesture, plus whatever its own clock says. Safe with Event::None --
	 * that is how countdowns and idle timeouts get their turn. */
	Status proceed(button::Event e);

	/** When proceed() must run again unprompted (bar step, calibration end, idle timeout).
	 * @return absolute k_uptime_get() deadline */
	int64_t deadline_ms();

	/** Leave immediately, aborting a running calibration. For the low-battery warning. */
	void abort();
}
```

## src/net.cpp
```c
#include "net.hpp"

#include <zephyr/kernel.h>

#include "ui/quantize.hpp"

namespace
{
	net::Hooks hooks;

	// Not copied: string literals or static buffers owned by the network build (see net.hpp).
	const char *qr_code;
	const char *manual_code;

	// Written by the network's threads, read by the loop. A plain word store is atomic on this
	// core, and a stale read costs nothing worse than one cycle of a stale indicator.
	bool thread_up;
	bool is_commissioned;

	/* What the status bar last drew, kept here because the quantizer's hysteresis needs the level
	 * being held -- and this is its only caller. -1 = the corner is empty. */
	int prev_bars = -1;

	/* What was last sent, at the resolution the panel shows. See publish_reading(). */
	uint16_t pub_co2_ppm;
	int32_t pub_temp_x100;
	uint16_t pub_hum_x100;
	bool have_published;
} // namespace

void net::set_hooks(const Hooks &h)
{
	hooks = h;
}

void net::set_pairing_codes(const char *qr, const char *manual)
{
	qr_code = qr;
	manual_code = manual;
}

const char *net::pair_qr()
{
	return qr_code;
}

const char *net::pair_manual()
{
	return manual_code;
}

bool net::has_radio()
{
	return qr_code != nullptr;
}

bool net::can_factory_reset()
{
	return hooks.factory_reset != nullptr;
}

void net::set_commissioned(bool on_fabric)
{
	is_commissioned = on_fabric;
}

bool net::commissioned()
{
	return is_commissioned;
}

void net::set_thread_connected(bool up)
{
	thread_up = up;
}

void net::open_pairing()
{
	if (hooks.pairing_open)
	{
		hooks.pairing_open();
	}
}

void net::dismiss_pairing()
{
	if (hooks.pairing_dismissed)
	{
		hooks.pairing_dismissed();
	}
}

void net::factory_reset()
{
	if (hooks.factory_reset)
	{
		hooks.factory_reset();
	}
}

void net::publish_unit(ui::TempUnit u)
{
	if (hooks.publish_unit)
	{
		hooks.publish_unit(u);
	}
}

void net::publish_reading(const Scd41Reading &r)
{
	if (!hooks.reading)
	{
		return;
	}

	// The same key the panel dedups on: CO2 to the ppm, T and RH to what is displayed. So the
	// controller and the panel change in the same moment, and neither ever hears about a change
	// the other could not show.
	const int32_t t_q = ui::quantize_temp_x100(r.temp_x100);
	const uint16_t h_q = ui::quantize_hum_x100(r.hum_x100);

	if (have_published && r.co2_ppm == pub_co2_ppm && t_q == pub_temp_x100 && h_q == pub_hum_x100)
	{
		return; // nothing a person could tell apart has changed
	}

	hooks.reading(r);
	pub_co2_ppm = r.co2_ppm;
	pub_temp_x100 = t_q;
	pub_hum_x100 = h_q;
	have_published = true;
}

void net::publish_battery(const battery::State &bat)
{
	if (hooks.battery)
	{
		hooks.battery(bat);
	}
}

bool net::unit_from_network(ui::TempUnit *out)
{
	return hooks.unit_from_network && hooks.unit_from_network(out);
}

int net::poll_signal()
{
	// Only a LOST link empties the corner.
	if (!thread_up)
	{
		prev_bars = -1;
		return prev_bars;
	}

	int8_t rssi;
	if (!hooks.link_rssi || !hooks.link_rssi(&rssi))
	{
		// A failed read on a live link: the last measurement is still the best answer there is,
		// and returning it makes the caller's set_signal_bars() a dedup no-op.
		return prev_bars;
	}

	const int bars = ui::quantize_signal_bars(rssi, prev_bars);
	if (bars != prev_bars)
	{
		// Log only movement: the dBm drift every half minute is noise, the moment the panel
		// changes is the line you read when deciding where to put the device.
		printk("[SIG] %d dBm -> %d bars\n", rssi, bars);
	}

	prev_bars = bars;
	return prev_bars;
}
```

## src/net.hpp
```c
#pragma once

#include <stdint.h>

#include "sensors/battery.hpp"
#include "sensors/scd41.hpp"
#include "ui/temp_unit.hpp" // ui::TempUnit

/** @file
 * The device's edge to a network, whichever network that is.
 *
 * app.cpp measures, waits and paints; everything it says to the outside world goes through here.
 * The Matter build installs the hooks below (apps/matter/src/app_task.cpp); the standalone build
 * installs nothing and every function quietly answers "no" -- which is why the loop has no #ifdefs.
 *
 * Threading: hooks are called on the loop's thread (a hook that blocks stalls the panel). The
 * set_* functions marked below are called from the network's threads; they only store a word,
 * which is atomic on this core, and the loop reads it on its next pass.
 */
namespace net
{
	/** What a network build provides. Any pointer may be null: a null hook is a feature this build
	 * does not have. */
	struct Hooks
	{
		/** A reading worth telling the network about (publish_reading() decides which). */
		void (*reading)(const Scd41Reading &r);

		/** The battery, every cycle. */
		void (*battery)(const battery::State &bat);

		/** Drop every network the device is on; the user confirmed it on the panel. */
		void (*factory_reset)();

		/** The onboarding code is on the panel: start listening. The boot window closes an hour
		 * after boot (CONFIG_CHIP_BLE_ADVERTISING_DURATION); without this, a device on a shelf
		 * shows a QR nothing will answer. Idempotent. */
		void (*pairing_open)();

		/** The user dismissed the QR screen on a device with no fabric: cut the advertising window
		 * short, but do not close it -- they may be fetching their phone. (Cutting a menu-opened
		 * 10-minute window to 10 minutes is a harmless no-op; the hour the boot opened is the
		 * case that matters.) Never called once a fabric exists. */
		void (*pairing_dismissed)();

		/** Tell the network the panel's unit. Also called at boot (via prefs::apply_all()), which
		 * is what makes prefs the authority and the cluster the mirror -- the cluster reloads its
		 * own copy on boot and would otherwise win every restart. */
		void (*publish_unit)(ui::TempUnit u);

		/** The unit the network thinks the panel should show. Polled by poll(): the SDK's Unit
		 * Localization server is a closed singleton with no callback, and its writes bypass
		 * MatterPostAttributeChangeCallback -- a write can only be noticed, never announced.
		 * @return false if no unit could be read; *out untouched */
		bool (*unit_from_network)(ui::TempUnit *out);

		/** Average RSSI to the parent router, in dBm. Polled by poll(); false = no parent. */
		bool (*link_rssi)(int8_t *out);
	};

	/** Install the network. Call before app::run(). */
	void set_hooks(const Hooks &hooks);

	/** Install the onboarding codes ("MT:..." / "1234-567-8901"). Not copied; call before
	 * app::run(). Their presence is what makes the device HAVE a radio -- menu row, QR view,
	 * splash mark all key on it (has_radio()), not on a compile switch. */
	void set_pairing_codes(const char *qr, const char *manual);

	/** The codes for the panel's Matter view; null without a radio. */
	const char *pair_qr();
	const char *pair_manual();

	/** Whether there is a network to speak of. The menu asks before it offers a row. */
	bool has_radio();
	bool can_factory_reset();

	/** Whether the device is on a fabric. Written from the network's threads -- on the Matter
	 * build, seeded at boot and then kept current by a fabric-table delegate. */
	void set_commissioned(bool on_fabric);
	bool commissioned();

	/** Whether the Thread link is up. Written from the network's threads; poll() gates the signal
	 * bars on it, so a lost link empties the status bar on the loop's next pass. */
	void set_thread_connected(bool up);

	/** Gesture forwarders: each calls its hook if there is one, so callers never test for the
	 * network themselves. */
	void open_pairing();
	void dismiss_pairing();
	void factory_reset();
	void publish_unit(ui::TempUnit u);

	/** What unit the network thinks the panel should show (see Hooks::unit_from_network). The loop
	 * polls this and hands the answer to prefs::adopt() -- the bridge lives in the loop so that
	 * prefs and net never call each other. @return false = no network, or no unit to read */
	bool unit_from_network(ui::TempUnit *out);

	/** Publish when the displayed reading changed -- CO2 to the ppm, T/RH to what the panel shows
	 * (in Celsius/whole percent regardless of the unit on screen). Measured: publishing every tick
	 * costs 14 days of battery. The dedup decides WHEN, never WHAT: the hook always gets the
	 * full-resolution reading. */
	void publish_reading(const Scd41Reading &r);

	/** The battery, every cycle. */
	void publish_battery(const battery::State &bat);

	/** Ask the radio how well it is heard, once a cycle. A poll, because a signal strength has no
	 * event to subscribe to. The judgement lives here -- quantization, hysteresis, only a lost
	 * link clears the corner, a failed read keeps the last answer -- and putting the result on the
	 * panel is the caller's line: net never touches the display.
	 * @return what the status bar should show: -1 = nothing, else 0..4 bars */
	int poll_signal();
}
```

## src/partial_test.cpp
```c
/*
 * Partial-refresh test harness (built INSTEAD of main.cpp -- see CMakeLists.txt).
 *
 * Isolates the e-paper refresh path from the app: shows a counter that increments
 * once per second. The first paint after boot is a FULL refresh (blanking on/off =
 * full LUT); every update after that is a PARTIAL refresh (bare lv_refr_now = the
 * driver's partial/fast-LUT path). Watch the panel for ghosting, and measure each
 * partial on the PPK2 -- no sensor / measurement / PM code in the way.
 *
 * The console UART is left running (not idle-suspended) so COM9 streams a line per
 * second. Swap back to src/main.cpp in CMakeLists for the real app.
 */
#include <zephyr/kernel.h>
#include <stdio.h>
#include <lvgl.h>

#include "ui/ui_platform.hpp"

extern "C" {
extern const lv_font_t b612_48;
}

int main(void)
{
	printk("partial-test: start\n");

	if (!plat::display_ready()) {
		printk("partial-test: display not ready\n");
		return 0;
	}

	lv_display_t *disp = lv_display_get_default();

	lv_obj_t *scr = lv_scr_act();
	lv_obj_set_style_bg_color(scr, lv_color_white(), 0);
	lv_obj_set_style_bg_opa(scr, LV_OPA_COVER, 0);

	lv_obj_t *label = lv_label_create(scr);
	lv_obj_set_style_text_font(label, &b612_48, 0);
	lv_obj_set_style_text_color(label, lv_color_black(), 0);
	lv_label_set_text(label, "0");
	lv_obj_center(label);

	/* First paint: FULL refresh (blanking on/off selects the full LUT). */
	plat::blanking_on();
	lv_refr_now(disp);
	plat::blanking_off();
	printk("partial-test: boot FULL refresh done\n");

	char buf[16];
	uint32_t n = 0;
	while (1) {
		k_msleep(1000);
		n++;
		snprintf(buf, sizeof(buf), "%u", (unsigned)n);
		lv_label_set_text(label, buf);

		/* Every 10th = FULL (blanking on/off), else PARTIAL (bare lv_refr_now).
		 * No sensor code -> isolates pure e-paper refresh energy on the PPK2. */
		bool full = (n % 10 == 0);
		if (full) {
			plat::blanking_on();
			lv_refr_now(disp);
			plat::blanking_off();
		} else {
			lv_refr_now(disp);
		}
		printk("partial-test: n=%u %s\n", (unsigned)n, full ? "FULL" : "PARTIAL");
	}
	return 0;
}
```
